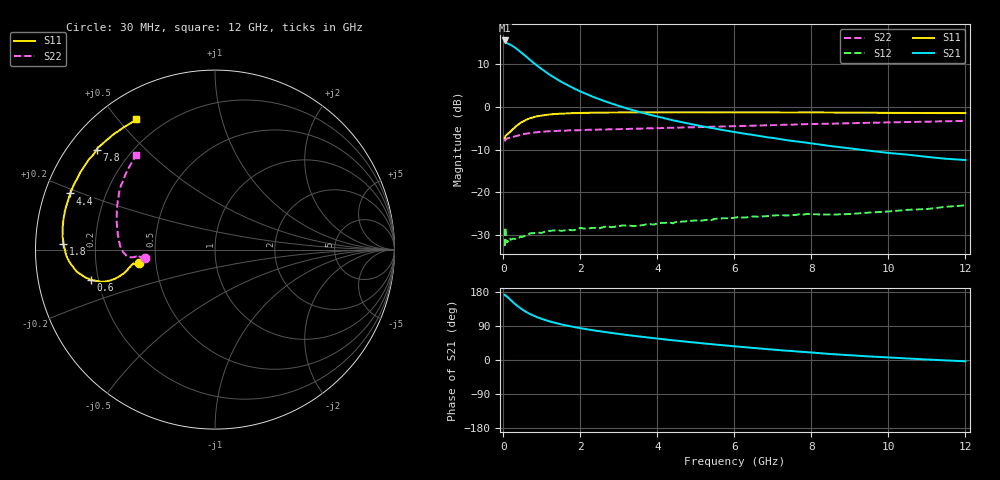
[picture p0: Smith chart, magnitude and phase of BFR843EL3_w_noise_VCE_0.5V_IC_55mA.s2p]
! Infineon Technologies  Discrete & RF Semiconductors
! BFR843EL3
! VCE =  0.5 V,  IC =  55 mA
! Common Emitter S-Parameters:  Aug 2013
# GHz  S  MA  R  50
!  f  S11  S21  S12  S22
! GHz  MAG  ANG  MAG  ANG  MAG  ANG  MAG  ANG
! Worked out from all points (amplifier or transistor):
!   103 points, 30 MHz to 12 GHz, reference 50 ohm
!   highest |S21| = 15.6 dB at 30 MHz (marker M1)
!   |S21| within 3 dB of that: start of sweep to 484.9 MHz
!   unconditionally stable (mu >= 1): start of sweep to end of sweep
!   at 400 MHz: K = 2.01, MAG = 16.2 dB, |S12| = -30.6 dB
!   at 3.7 GHz: K = 2.69, MAG = 5.8 dB, |S12| = -27.5 dB
!   at 12 GHz: K = 4.76, MAG = -4.4 dB, |S12| = -23.0 dB
!   lowest NFmin = 1.94 dB at 450 MHz
!   S11 on the Smith chart (normalised r, x): 30 MHz: 0.40, -0.07; 600 MHz: 0.17, -0.12; 1.8 GHz: 0.08, +0.02; 4.4 GHz: 0.08, +0.19; 7.8 GHz: 0.08, +0.36; 12 GHz: 0.11, +0.56
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0.03  0.4295 -170.3  6.003 172.0  0.0234 14.5  0.3944 -173.1
0.04  0.4406 -170.4  5.865 171.1  0.0243 9.8  0.4056 -173.5
0.05  0.4511 -169.5  5.824 169.8  0.039 13.1  0.4112 -173.0
0.06  0.4605 -170.4  5.689 169.9  0.0275 0.9  0.4199 -174.7
0.07  0.4639 -170.1  5.641 169.0  0.0263 7.8  0.421 -174.9
0.15  0.4985 -167.1  5.431 162.1  0.0291 10.4  0.4337 -175.3
0.3  0.5773 -163.8  4.954 147.8  0.0284 9.6  0.4519 -174.8
0.45  0.6544 -164.1  4.377 136.0  0.0302 11.0  0.4713 -174.8
0.6  0.71 -166.2  3.854 126.3  0.0315 12.5  0.4872 -175.5
0.8  0.7618 -169.6  3.23 116.2  0.0333 13.4  0.5005 -177.0
1.1  0.8046 -174.0  2.568 105.0  0.0351 12.7  0.5156 -179.2
1.4  0.8296 -177.8  2.097 96.6  0.0359 14.2  0.5243 179.0
1.8  0.8455 177.8  1.676 87.7  0.0359 15.6  0.5325 176.7
2.1  0.853 175.1  1.451 82.2  0.0376 15.7  0.5368 175.1
3  0.8615 168.0  1.025 68.8  0.0401 19.2  0.5488 170.5
4.1  0.8638 160.6  0.753 55.4  0.0439 21.9  0.5647 165.3
4.4  0.8644 158.8  0.697 52.0  0.0433 22.1  0.5691 164.0
6.1  0.864 148.9  0.5 35.3  0.0514 23.0  0.5973 155.8
7.8  0.863 139.9  0.385 21.2  0.055 22.0  0.6268 147.9
8.5  0.8599 136.1  0.348 15.7  0.0548 21.2  0.6367 144.4
10.5  0.8507 126.9  0.276 4.0  0.0624 24.2  0.6649 135.6
12  0.8486 121.1  0.239 -3.4  0.0704 23.6  0.6876 129.6
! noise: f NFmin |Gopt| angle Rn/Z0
0.45  1.94  0.32  -179  0.13
0.9  1.97  0.36  188  0.12
1.5  2.03  0.38  190  0.12
1.9  2.08  0.38  190  0.11
2.4  2.15  0.42  196  0.1
3.5  2.32  0.45  200  0.12
5.5  2.64  0.52  210  0.16
8  3.02  0.62  222  0.28
10  3.31  0.63  237  0.63
